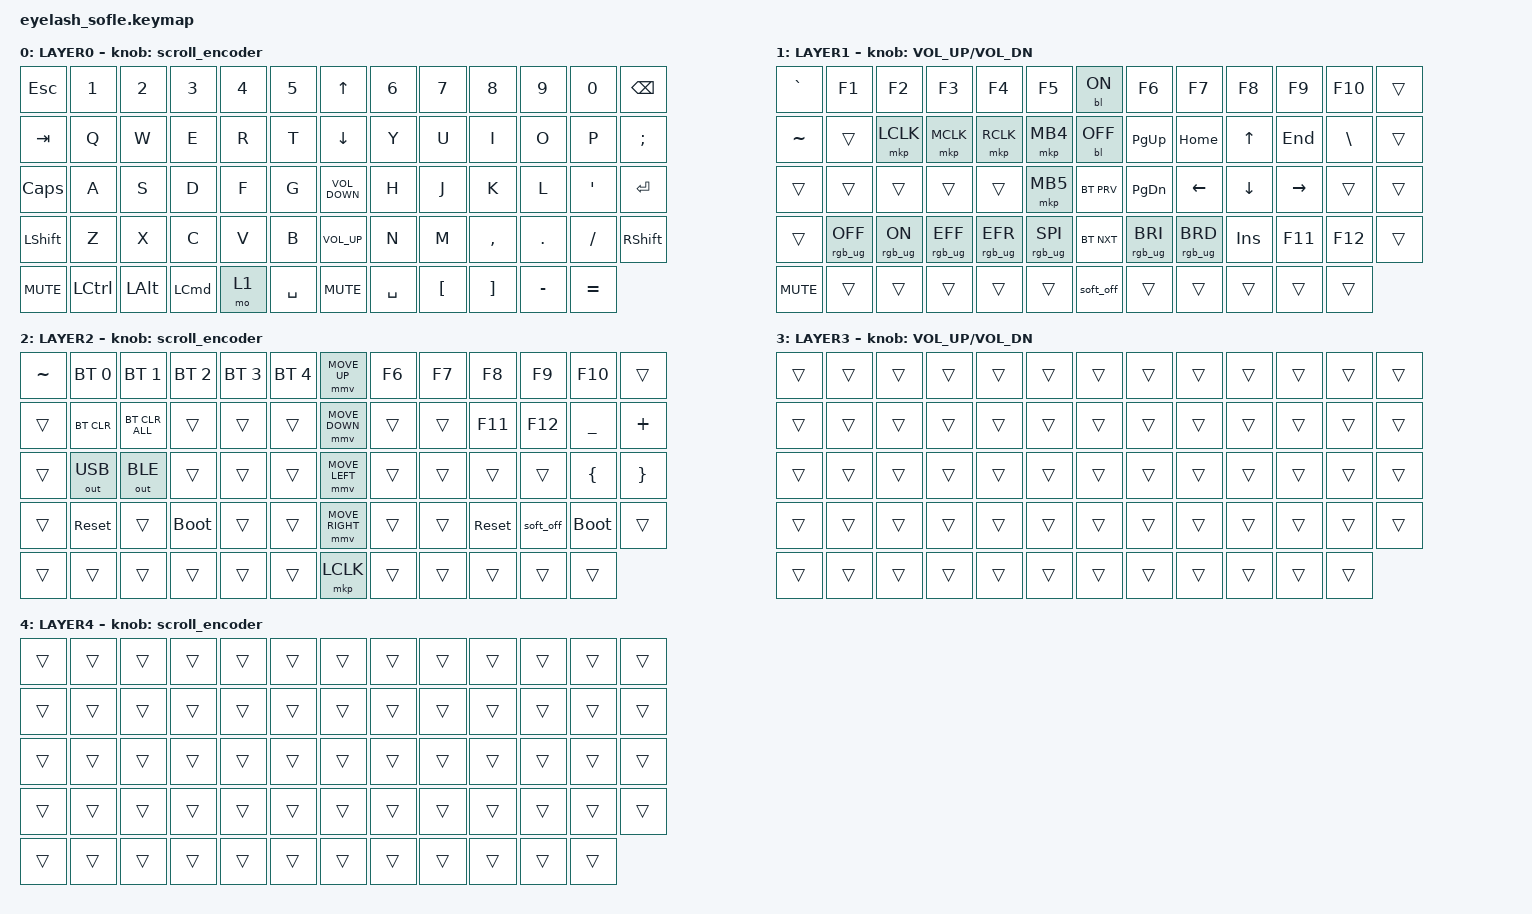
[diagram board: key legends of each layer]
#define ZMK_POINTING_DEFAULT_MOVE_VAL 1200  // 600
#define ZMK_POINTING_DEFAULT_SCRL_VAL 25   // 10

#include <input/processors.dtsi>
#include <zephyr/dt-bindings/input/input-event-codes.h>
#include <behaviors.dtsi>
#include <dt-bindings/zmk/backlight.h>
#include <dt-bindings/zmk/bt.h>
#include <dt-bindings/zmk/keys.h>
#include <dt-bindings/zmk/outputs.h>
#include <dt-bindings/zmk/pointing.h>
#include <dt-bindings/zmk/rgb.h>

&mmv_input_listener { input-processors = <&zip_xy_scaler 2 1>; };

&msc_input_listener { input-processors = <&zip_scroll_scaler 2 1>; };

&msc {
    acceleration-exponent = <1>;      // 0
    time-to-max-speed-ms = <100>;       // 300
    delay-ms = <0>;                   // 0
};

&mmv {
    time-to-max-speed-ms = <500>;
    acceleration-exponent = <1>;
    trigger-period-ms = <16>;
};

&soft_off { hold-time-ms = <2000>; };

/ {
    scroll_encoder: scroll_encoder {
        compatible = "zmk,behavior-sensor-rotate";
        #sensor-binding-cells = <0>;
        bindings = <&msc SCRL_DOWN>, <&msc SCRL_UP>;

        tap-ms = <100>;
    };

    behaviors {
    };

    combos {
        compatible = "zmk,combos";

        softoff {
            bindings = <&soft_off>;
            key-positions = <14 28 40>;
        };
    };

    macros {
        SHIFT_MCLK: SHIFT_MCLK {
            compatible = "zmk,behavior-macro";
            #binding-cells = <0>;
            bindings =
                <&macro_press>,
                <&kp LEFT_SHIFT>,
                <&macro_press>,
                <&mkp MB3>,
                <&macro_pause_for_release>,
                <&macro_release>,
                <&kp LEFT_SHIFT &mkp MB3>;

            label = "SHIFT_MCLK";
        };
    };

    keymap {
        compatible = "zmk,keymap";

        layer0 {
            bindings = <
&kp ESC     &kp N1     &kp N2        &kp N3            &kp N4  &kp N5       &kp UP_ARROW       &kp N6     &kp N7            &kp N8             &kp N9     &kp N0     &kp BACKSPACE
&kp TAB     &kp Q      &kp W         &kp E             &kp R   &kp T        &kp DOWN_ARROW     &kp Y      &kp U             &kp I              &kp O      &kp P      &kp SEMICOLON
&kp CAPS    &kp A      &kp S         &kp D             &kp F   &kp G        &kp C_VOLUME_DOWN  &kp H      &kp J             &kp K              &kp L      &kp SQT    &kp ENTER
&kp LSHFT   &kp Z      &kp X         &kp C             &kp V   &kp B        &kp C_VOLUME_UP    &kp N      &kp M             &kp COMMA          &kp DOT    &kp SLASH  &kp RIGHT_SHIFT
&kp C_MUTE  &kp LCTRL  &kp LEFT_ALT  &kp LEFT_COMMAND  &mo 1   &kp SPACE    &kp C_MUTE         &kp SPACE  &kp LEFT_BRACKET  &kp RIGHT_BRACKET  &kp MINUS  &kp EQUAL
            >;

            sensor-bindings = <&scroll_encoder>;
            display-name = "LAYER0";
        };

        layer_1 {
            bindings = <
&kp GRAVE   &kp F1           &kp F2          &kp F3           &kp F4           &kp F5             &bl BL_ON   &kp F6           &kp F7           &kp F8      &kp F9     &kp F10        &trans
&kp TILDE   &trans           &mkp LCLK       &mkp MCLK        &mkp RCLK        &mkp MB4           &bl BL_OFF  &kp PG_UP        &kp HOME         &kp UP      &kp END    &kp BACKSLASH  &trans
&trans      &trans           &trans          &trans           &trans           &mkp MB5           &bt BT_PRV  &kp PG_DN        &kp LEFT         &kp DOWN    &kp RIGHT  &trans         &trans
&trans      &rgb_ug RGB_OFF  &rgb_ug RGB_ON  &rgb_ug RGB_EFF  &rgb_ug RGB_EFR  &rgb_ug RGB_SPI    &bt BT_NXT  &rgb_ug RGB_BRI  &rgb_ug RGB_BRD  &kp INSERT  &kp F11    &kp F12        &trans
&kp C_MUTE  &trans           &trans          &trans           &trans           &trans             &soft_off   &trans           &trans           &trans      &trans     &trans
            >;

            sensor-bindings = <&inc_dec_kp C_VOLUME_UP C_VOL_DN>;
            display-name = "LAYER1";
        };

        layer_2 {
            bindings = <
&kp TILDE  &bt BT_SEL 0  &bt BT_SEL 1    &bt BT_SEL 2  &bt BT_SEL 3  &bt BT_SEL 4    &mmv MOVE_UP     &kp F6  &kp F7  &kp F8      &kp F9     &kp F10      &trans
&trans     &bt BT_CLR    &bt BT_CLR_ALL  &trans        &trans        &trans          &mmv MOVE_DOWN   &trans  &trans  &kp F11     &kp F12    &kp UNDER    &kp PLUS
&trans     &out OUT_USB  &out OUT_BLE    &trans        &trans        &trans          &mmv MOVE_LEFT   &trans  &trans  &trans      &trans     &kp LBRC     &kp RBRC
&trans     &sys_reset    &trans          &bootloader   &trans        &trans          &mmv MOVE_RIGHT  &trans  &trans  &sys_reset  &soft_off  &bootloader  &trans
&trans     &trans        &trans          &trans        &trans        &trans          &mkp LCLK        &trans  &trans  &trans      &trans     &trans
            >;

            display-name = "LAYER2";
            sensor-bindings = <&scroll_encoder>;
        };

        layer_3 {
            bindings = <
&trans  &trans  &trans  &trans  &trans  &trans    &trans  &trans  &trans  &trans  &trans  &trans  &trans
&trans  &trans  &trans  &trans  &trans  &trans    &trans  &trans  &trans  &trans  &trans  &trans  &trans
&trans  &trans  &trans  &trans  &trans  &trans    &trans  &trans  &trans  &trans  &trans  &trans  &trans
&trans  &trans  &trans  &trans  &trans  &trans    &trans  &trans  &trans  &trans  &trans  &trans  &trans
&trans  &trans  &trans  &trans  &trans  &trans    &trans  &trans  &trans  &trans  &trans  &trans
            >;

            display-name = "LAYER3";
            sensor-bindings = <&inc_dec_kp C_VOLUME_UP C_VOL_DN>;
        };

        layer_4 {
            bindings = <
&trans  &trans  &trans  &trans  &trans  &trans    &trans  &trans  &trans  &trans  &trans  &trans  &trans
&trans  &trans  &trans  &trans  &trans  &trans    &trans  &trans  &trans  &trans  &trans  &trans  &trans
&trans  &trans  &trans  &trans  &trans  &trans    &trans  &trans  &trans  &trans  &trans  &trans  &trans
&trans  &trans  &trans  &trans  &trans  &trans    &trans  &trans  &trans  &trans  &trans  &trans  &trans
&trans  &trans  &trans  &trans  &trans  &trans    &trans  &trans  &trans  &trans  &trans  &trans
            >;

            display-name = "LAYER4";
            sensor-bindings = <&scroll_encoder>;
        };
    };
};
